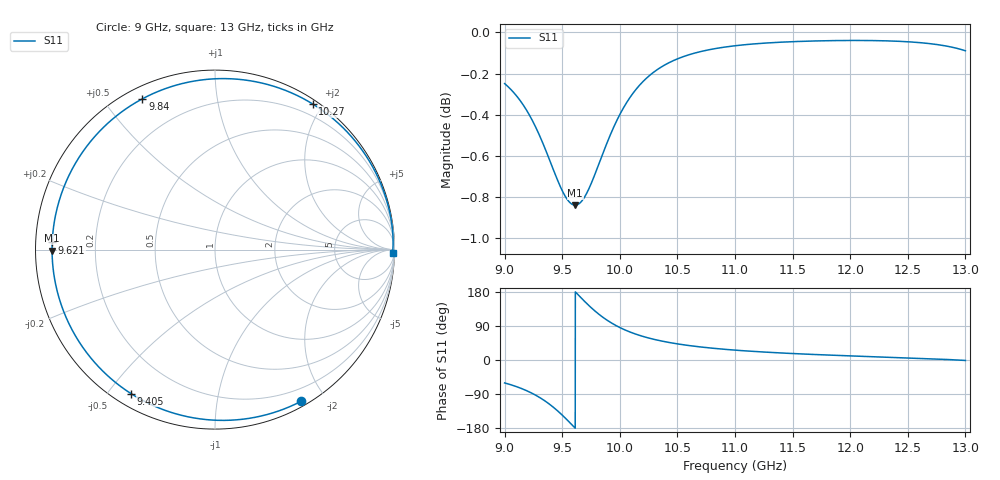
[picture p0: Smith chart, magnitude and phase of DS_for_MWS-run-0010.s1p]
! TOUCHSTONE file generated by CST DESIGN STUDIO
! Date and time: Tue Feb  4 17:54:16 2025
! Project name: C:\Work\MatlabApps\UnitCellOptimizationMatlab\CST\unitcell.cst
! Tree item: Tasks\Sweep1\SPara1\S-Parameters
! Header version: 2024
! Port assignment regex: !\s*Touchstone port\s*([0-9]+)\s*=\s*(CST MWS port|CST DES external port|CST DES block port)\s*(.+)\s* \(\"(.*)\"\)(\s*mode\s*([0-9]+))?.*
! Touchstone port assignment:
! Touchstone port 1 = CST DES external port 1 ("")
# GHz S MA R 50
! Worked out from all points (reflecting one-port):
!   4001 points, 9 GHz to 13 GHz, reference 50 ohm
!   lowest |S11| = -0.8 dB at 9.612 GHz (marker M1), VSWR 20.70, Z = 2.42 - j0.148 ohm
!   phase of S11 starts at -60 deg and turns -301 deg over the sweep
!   S11 on the Smith chart (normalised r, x): 9 GHz: 0.06, -1.71; 9.405 GHz: 0.05, -0.57; 9.621 GHz: 0.05, +0.02; 9.84 GHz: 0.05, +0.63; 10.27 GHz: 0.05, +1.87; 13 GHz: 41, -79
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9  0.9718 -60.5
9.055  0.9685 -65.4
9.127  0.9632 -73.0
9.251  0.9507 -89.8
9.333  0.9397 -104.5
9.405  0.9288 -120.2
9.453  0.9216 -132.3
9.5  0.9153 -145.3
9.558  0.9097 -162.7
9.612  0.9078 -179.7
9.621  0.9079 177.5
9.676  0.9104 160.3
9.738  0.917 141.9
9.789  0.9244 128.1
9.84  0.9324 115.7
9.914  0.9437 100.2
10  0.9551 85.7
10.063  0.9618 77.0
10.129  0.9677 69.3
10.274  0.977 56.2
10.38  0.9816 49.0
10.5  0.9853 42.5
10.72  0.9896 33.8
11  0.9926 26.0
11.5  0.9948 17.1
12  0.9955 10.9
12.5  0.9948 5.5
13  0.9898 -1.1
